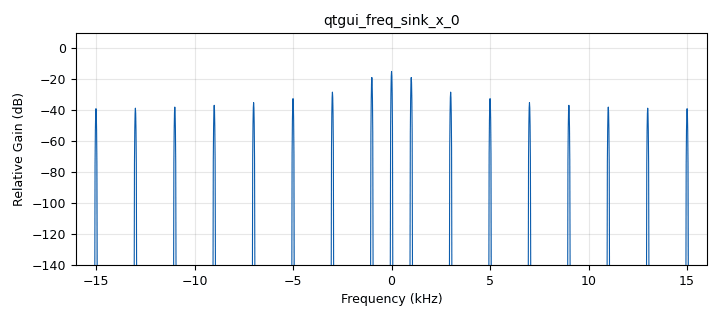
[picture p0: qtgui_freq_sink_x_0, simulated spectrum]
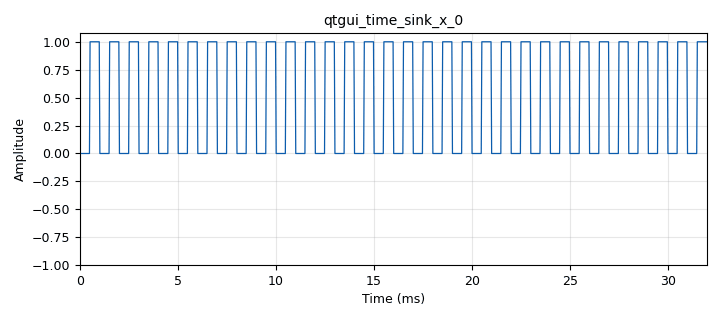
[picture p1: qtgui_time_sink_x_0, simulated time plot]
options:
  parameters:
    author: uis
    generate_options: qt_gui
    id: potencia
    output_language: python
    title: potencia
  states: {}

blocks:
- name: a
  id: variable_qtgui_range
  parameters:
    label: amplitud
    start: '0'
    step: '1'
    stop: '20'
    value: '1'
  states: {}
- name: samp_rate
  id: variable
  parameters:
    value: '32000'
  states: {}
- name: analog_sig_source_x_0
  id: analog_sig_source_x
  parameters:
    amp: a
    freq: '1000'
    offset: '0'
    phase: '0'
    samp_rate: samp_rate
    type: float
    waveform: analog.GR_SQR_WAVE
  states: {}
- name: lab2_punto1_0
  id: lab2_punto1
  parameters:
    I_vect: '1024'
  states: {}
- name: qtgui_freq_sink_x_0
  id: qtgui_freq_sink_x
  parameters:
    bw: samp_rate
    fc: '0'
    fftsize: '2048'
    type: float
  states: {}
- name: qtgui_time_sink_x_0
  id: qtgui_time_sink_x
  parameters:
    size: '1024'
    srate: samp_rate
    type: float
  states: {}

connections:
- [analog_sig_source_x_0, '0', lab2_punto1_0, '0']
- [analog_sig_source_x_0, '0', qtgui_freq_sink_x_0, '0']
- [analog_sig_source_x_0, '0', qtgui_time_sink_x_0, '0']

metadata:
  file_format: 1
